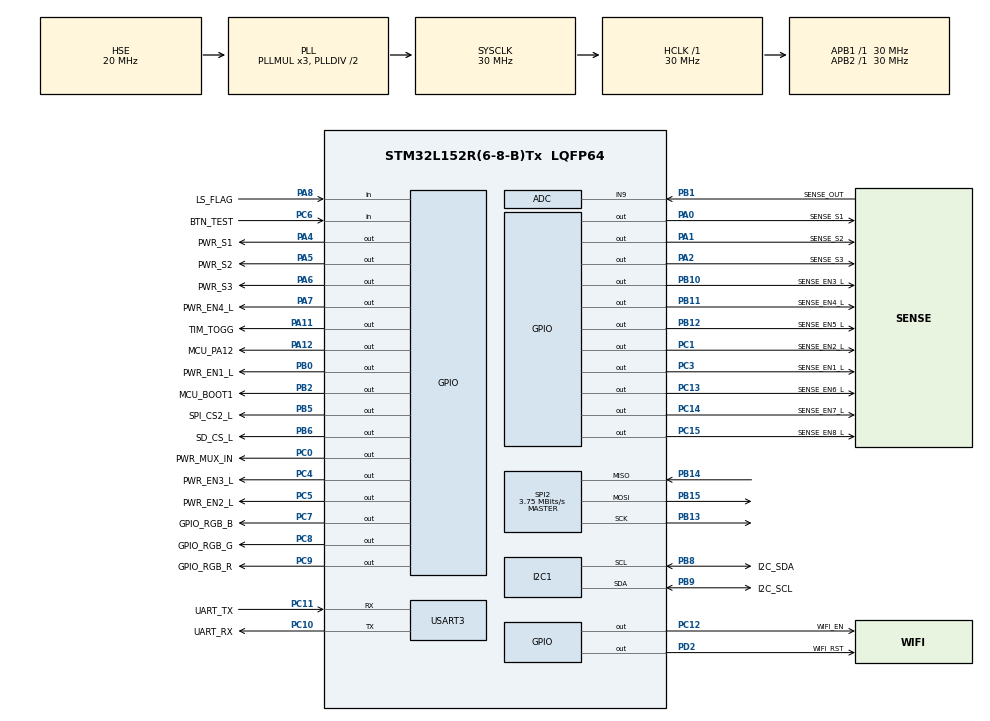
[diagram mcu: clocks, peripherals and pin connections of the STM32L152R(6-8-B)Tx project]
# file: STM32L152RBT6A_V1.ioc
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ADC.Channel-0\#ChannelRegularConversion=ADC_CHANNEL_9
ADC.NbrOfConversionFlag=1
ADC.SamplingTime-0\#ChannelRegularConversion=ADC_SAMPLETIME_48CYCLES
FATFS._MAX_SS=4096
FATFS._USE_LFN=1
Mcu.Family=STM32L1
Mcu.Name=STM32L152R(6-8-B)Tx
Mcu.Package=LQFP64
NVIC.I2C1_ER_IRQn=true\:0\:0\:false\:false\:true\:true\:true
NVIC.I2C1_EV_IRQn=true\:0\:0\:false\:false\:true\:true\:true
NVIC.PriorityGroup=NVIC_PRIORITYGROUP_4
NVIC.RCC_IRQn=true\:0\:0\:false\:false\:true\:true\:false
NVIC.RTC_Alarm_IRQn=true\:0\:0\:false\:false\:true\:true\:true
NVIC.SPI2_IRQn=true\:0\:0\:false\:false\:true\:true\:true
NVIC.USART3_IRQn=true\:0\:0\:false\:false\:true\:true\:true
PA0-WKUP1.GPIO_Label=SENSE_S1
PA0-WKUP1.Signal=GPIO_Output
PA1.GPIO_Label=SENSE_S2
PA1.Signal=GPIO_Output
PA11.GPIO_Label=TIM_TOGG
PA11.Signal=GPIO_Output
PA12.GPIO_Label=MCU_PA12
PA12.Signal=GPIO_Output
PA13.Mode=Trace_Asynchronous_SW
PA13.Signal=SYS_JTMS-SWDIO
PA14.Mode=Trace_Asynchronous_SW
PA14.Signal=SYS_JTCK-SWCLK
PA2.GPIO_Label=SENSE_S3
PA2.Signal=GPIO_Output
PA4.GPIO_Label=PWR_S1
PA4.Signal=GPIO_Output
PA5.GPIO_Label=PWR_S2
PA5.Signal=GPIO_Output
PA6.GPIO_Label=PWR_S3
PA6.Signal=GPIO_Output
PA7.GPIO_Label=PWR_EN4_L
PA7.Signal=GPIO_Output
PA8.GPIO_Label=LS_FLAG
PA8.Signal=GPIO_Input
PB0.GPIO_Label=PWR_EN1_L
PB0.Signal=GPIO_Output
PB1.GPIO_Label=SENSE_OUT
PB1.GPIO_Mode=GPIO_MODE_ANALOG
PB1.GPIO_PuPd=GPIO_NOPULL
PB1.Mode=IN9
PB1.Signal=ADC_IN9
PB10.GPIO_Label=SENSE_EN3_L
PB10.Signal=GPIO_Output
PB11.GPIO_Label=SENSE_EN4_L
PB11.Signal=GPIO_Output
PB12.GPIO_Label=SENSE_EN5_L
PB12.Signal=GPIO_Output
PB13.Mode=Full_Duplex_Master
PB13.Signal=SPI2_SCK
PB14.Mode=Full_Duplex_Master
PB14.Signal=SPI2_MISO
PB15.Mode=Full_Duplex_Master
PB15.Signal=SPI2_MOSI
PB2.GPIO_Label=MCU_BOOT1
PB2.Signal=GPIO_Output
PB3.Mode=Trace_Asynchronous_SW
PB3.Signal=SYS_JTDO-TRACESWO
PB5.GPIO_Label=SPI_CS2_L
PB5.Signal=GPIO_Output
PB6.GPIO_Label=SD_CS_L
PB6.Signal=GPIO_Output
PB8.GPIO_Label=I2C_SDA
PB8.Mode=I2C
PB8.Signal=I2C1_SCL
PB9.GPIO_Label=I2C_SCL
PB9.Mode=I2C
PB9.Signal=I2C1_SDA
PC0.GPIO_Label=PWR_MUX_IN
PC0.Signal=GPIO_Output
PC1.GPIO_Label=SENSE_EN2_L
PC1.Signal=GPIO_Output
PC10.GPIO_Label=UART_RX
PC10.Mode=Asynchronous
PC10.Signal=USART3_TX
PC11.GPIO_Label=UART_TX
PC11.Mode=Asynchronous
PC11.Signal=USART3_RX
PC12.GPIO_Label=WIFI_EN
PC12.Signal=GPIO_Output
PC13-WKUP2.GPIO_Label=SENSE_EN6_L
PC13-WKUP2.Signal=GPIO_Output
PC14-OSC32_IN.GPIO_Label=SENSE_EN7_L
PC14-OSC32_IN.Signal=GPIO_Output
PC15-OSC32_OUT.GPIO_Label=SENSE_EN8_L
PC15-OSC32_OUT.Signal=GPIO_Output
PC3.GPIO_Label=SENSE_EN1_L
PC3.Signal=GPIO_Output
PC4.GPIO_Label=PWR_EN3_L
PC4.Signal=GPIO_Output
PC5.GPIO_Label=PWR_EN2_L
PC5.Signal=GPIO_Output
PC6.GPIO_Label=BTN_TEST
PC6.Signal=GPIO_Input
PC7.GPIO_Label=GPIO_RGB_B
PC7.Signal=GPIO_Output
PC8.GPIO_Label=GPIO_RGB_G
PC8.Signal=GPIO_Output
PC9.GPIO_Label=GPIO_RGB_R
PC9.Signal=GPIO_Output
PD2.GPIO_Label=WIFI_RST
PD2.Signal=GPIO_Output
PH0-OSC_IN.Mode=HSE-External-Oscillator
PH0-OSC_IN.Signal=RCC_OSC_IN
PH1-OSC_OUT.Mode=HSE-External-Oscillator
PH1-OSC_OUT.Signal=RCC_OSC_OUT
ProjectManager.HeapSize=0x200
ProjectManager.StackSize=0x800
ProjectManager.TargetToolchain=STM32CubeIDE
RCC.48MHZClocksFreq_Value=30000000
RCC.AHBFreq_Value=30000000
RCC.APB1Freq_Value=30000000
RCC.APB1TimFreq_Value=30000000
RCC.APB2Freq_Value=30000000
RCC.APB2TimFreq_Value=30000000
RCC.HCLKFreq_Value=30000000
RCC.HSE_VALUE=20000000
RCC.HSI_VALUE=16000000
RCC.LSE_VALUE=32768
RCC.MSI_VALUE=2097000
RCC.PLLSourceVirtual=RCC_PLLSOURCE_HSE
RCC.RCC_RTC_Clock_Source_FROM_HSE=RCC_RTCCLKSOURCE_HSE_DIV16
RCC.SYSCLKFreq_VALUE=30000000
RCC.SYSCLKSource=RCC_SYSCLKSOURCE_PLLCLK
RCC.VCOOutputFreq_Value=60000000
RTC.Alarm-Alarm\ A=RTC_ALARM_A
RTC.Date=11
RTC.DayLightSaving=RTC_DAYLIGHTSAVING_NONE
RTC.Format=RTC_FORMAT_BIN
RTC.Hours=22
RTC.Hours_A-Alarm\ A=6
RTC.Month=RTC_MONTH_MARCH
RTC.WeekDay=RTC_WEEKDAY_FRIDAY
RTC.Year=22
SPI2.BaudRatePrescaler=SPI_BAUDRATEPRESCALER_8
SPI2.CalculateBaudRate=3.75 MBits/s
SPI2.Direction=SPI_DIRECTION_2LINES
SPI2.Mode=SPI_MODE_MASTER
SPI2.VirtualType=VM_MASTER
USART3.VirtualMode=VM_ASYNC
VP_FATFS_VS_Generic.Mode=User_defined
VP_RTC_VS_RTC_Activate.Mode=RTC_Enabled
VP_RTC_VS_RTC_Alarm_A_Intern.Mode=Alarm A
VP_RTC_VS_RTC_Calendar.Mode=RTC_Calendar
board=custom

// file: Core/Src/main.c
/* USER CODE BEGIN Header */
/**
  ******************************************************************************
  * @file           : main.c
  * @brief          : Main program body
  ******************************************************************************
  * @attention
  *
  * Copyright (c) 2022 STMicroelectronics.
  * All rights reserved.
  *
  * This software is licensed under terms that can be found in the LICENSE file
  * in the root directory of this software component.
  * If no LICENSE file comes with this software, it is provided AS-IS.
  *
  ******************************************************************************
  */

/* USER CODE END Header */
#include "main.h"
#include "fatfs.h"

/* USER CODE BEGIN Includes */
#include <stdlib.h>
#include <stdio.h>
#include <string.h>
#include <stdbool.h>
#include <math.h>
#include "fatfs_sd.h"

/* USER CODE END Includes */

/* USER CODE BEGIN PM */
#define NUM_NODES_FULL 	        1824 													/* Missing 7 rows on the mat */
#define NUM_NODES_PARTIAL    	96 														/* Nodes selected for partial sampling */
#define WAIT_TIME 	         	20000 													/* Time in ms to sample mat before ending program */
#define CALIBRATION_DELAY 	 	10 														/* Time in ms between mat calibration readings */
#define CALIBRATION_CYCLES 	 	3
#define SAMPLE_CYCLES 	     	5
#define ADC_DELAY        	 	3
#define RUNTIME 	          	10000 													/* Time in ms to sample mat before ending program */
// #define BREATHING_PERIOD		500													    /* Time in ms of breathing cycle sampling period */
// #define PRESSURE_MAP_PERIOD		300000													/* Time in ms of pressure map cycle sampling period */
#define BREATHING_PERIOD		500													    /* Time in ms of breathing cycle sampling period */
#define PRESSURE_MAP_PERIOD		30000													/* Time in ms of pressure map cycle sampling period */
#define FILE_LINE_SIZE_FULL   	(9 + (4 * NUM_NODES_FULL) + NUM_NODES_FULL) 			/* Time + (ADC integer reading (4 bytes) + comma) * NUM_NODES_FULL */
#define FILE_LINE_SIZE_PARTIAL	(9 + (4 * NUM_NODES_PARTIAL) + NUM_NODES_PARTIAL) 		/* Time + (ADC integer reading (4 bytes) + comma) * NUM_NODES_PARTIAL */

/* USER CODE END PM */

ADC_HandleTypeDef hadc;

I2C_HandleTypeDef hi2c1;

RTC_HandleTypeDef hrtc;

SPI_HandleTypeDef hspi2;

UART_HandleTypeDef huart3;

/* USER CODE BEGIN PV */
/* SD card-related variables */
FATFS fs;
FRESULT fr = FR_OK;
FIL pressure_map_fil;
FIL breathing_fil;
FATFS *pfs;
DWORD fre_clust;
uint32_t total, free_space;

char date[13];
char pressure_map_file_name[30] = "pressure_map_data.csv";
char breathing_file_name[30] = "breathing_data.csv";

RTC_DateTypeDef nDate;
RTC_TimeTypeDef nTime;

/* Muxing-related variables */
/* At 3.3V, expect ADC reading of 4095 */
const float ADC_VOLTAGE_CONVERSION = 0.0008056641;

const int pwrMuxEnable[4] = {PWR_EN1_L_Pin, PWR_EN2_L_Pin, PWR_EN3_L_Pin, PWR_EN4_L_Pin};
const int senseMuxEnable[8] = {SENSE_EN1_L_Pin, SENSE_EN2_L_Pin, SENSE_EN3_L_Pin, SENSE_EN4_L_Pin, SENSE_EN5_L_Pin, SENSE_EN6_L_Pin, SENSE_EN7_L_Pin, SENSE_EN8_L_Pin};

GPIO_TypeDef * pwrMuxType[4] = {GPIOB, GPIOC, GPIOC, GPIOA};
GPIO_TypeDef * senseMuxType[8] = {GPIOC, GPIOC, GPIOB, GPIOB, GPIOB, GPIOC, GPIOC, GPIOC};

int senseMuxSelect[3] = {SENSE_S1_Pin, SENSE_S2_Pin, SENSE_S3_Pin};
int pwrMuxSelect[3] = {PWR_S1_Pin, PWR_S2_Pin, PWR_S3_Pin};

/* USER CODE END PV */

void SystemClock_Config(void);
static void MX_GPIO_Init(void);
static void MX_ADC_Init(void);
static void MX_I2C1_Init(void);
static void MX_SPI2_Init(void);
static void MX_USART3_UART_Init(void);
static void MX_RTC_Init(void);

/* USER CODE BEGIN PFP */
/* SD card */
int _write(int file, char* ptr, int len);
void writeCurrentTime(FIL* fil);
void logData2SDCard(FIL* fil, int file_line_size, int data[], int len, bool write_timestamp);
void readSDCardSendUART(FIL* fil, char* file_name, int file_line_size);
uint32_t getSpaceFree(void);

/* Muxes */
void muxInit(void);
void selectChannel(int pin, int array[]);
void enableMux(GPIO_TypeDef *type, int pin);
void disableMux(GPIO_TypeDef *type, int pin);
int readPressure(void);
void sampleMatFull(int data[], int len);
void sampleMatPartial(int data[], int len);
void calibrateMat(int data[], int len);
void calibrate(int data[], int len);
bool checkTime(uint32_t start_time, int threshold);

/* USER CODE END PFP */

int main(void)
{

  /* MCU Configuration--------------------------------------------------------*/

  /* Reset of all peripherals, Initializes the Flash interface and the Systick. */
  HAL_Init();

  /* Configure the system clock */
  SystemClock_Config();

  /* Initialize all configured peripherals */
  MX_GPIO_Init();
  MX_ADC_Init();
  MX_I2C1_Init();
  MX_SPI2_Init();
  MX_USART3_UART_Init();
  MX_FATFS_Init();
  MX_RTC_Init();

  /* USER CODE BEGIN 2 */
  muxInit();

  int pressure_map_data[NUM_NODES_FULL] = {0};
  int breathing_data[NUM_NODES_PARTIAL] = {0};

  int pressure_map_calibration_data[NUM_NODES_FULL] = {0};
  int breathing_calibration_data[NUM_NODES_PARTIAL] = {0};

  uint32_t breathing_time;
  uint32_t pressure_map_time;

  /* Mount the SD card */
  fr = f_mount(&fs, "", 0) && FR_OK;
  // int cycle_cnt = 0;

  // HAL_RTC_GetDate(&hrtc, &nDate, RTC_FORMAT_BIN);
  // sprintf(date, "%02u-%02u-%02u.csv", nDate.Month, nDate.Date, nDate.Year);

  /* USER CODE END 2 */

  /* Infinite loop */
  /* USER CODE BEGIN WHILE */

  /* Wait for user button press to start the program */
  while (HAL_GPIO_ReadPin(BTN_TEST_GPIO_Port, BTN_TEST_Pin) == GPIO_PIN_SET){}

  /* Set RED LED to start measuring calibration data with nothing on the mat */
  HAL_GPIO_WritePin(GPIOC, GPIO_RGB_R_Pin, GPIO_PIN_SET);

  /* Calibration for 30s */
  calibrate(pressure_map_calibration_data, sizeof(pressure_map_calibration_data)/sizeof(*pressure_map_calibration_data));

  /* Reset the RED LED after calibration */
  HAL_GPIO_WritePin(GPIOC, GPIO_RGB_R_Pin, GPIO_PIN_RESET);

  /* Wait for user to get on the mat and press the button */
  while (HAL_GPIO_ReadPin(BTN_TEST_GPIO_Port, BTN_TEST_Pin) == GPIO_PIN_SET){}

  /* Set RED LED */
  HAL_GPIO_WritePin(GPIOC, GPIO_RGB_R_Pin, GPIO_PIN_SET);

  /* Wait for reading to settle */
  HAL_Delay(WAIT_TIME);

  /* Turn off RED LED */
  HAL_GPIO_WritePin(GPIOC, GPIO_RGB_R_Pin, GPIO_PIN_RESET);

  /* Open the file to write pressure map data to */
  fr = f_open(&pressure_map_fil, pressure_map_file_name, FA_CREATE_ALWAYS | FA_WRITE) && FR_OK;

  if (fr != FR_OK)
  {
	Error_Handler();
  }

  /* Open the file to write breathing data to */
  fr = f_open(&breathing_fil, breathing_file_name, FA_CREATE_ALWAYS | FA_WRITE) && FR_OK;

  if (fr != FR_OK)
  {
	Error_Handler();
  }

  // uint16_t start_time = HAL_GetTick();
  breathing_time = HAL_GetTick();
  pressure_map_time = HAL_GetTick();

  /* Set GREEN LED */
  HAL_GPIO_WritePin(GPIOC, GPIO_RGB_G_Pin, GPIO_PIN_SET);

  /* Button press stops the code */
  while(HAL_GPIO_ReadPin(BTN_TEST_GPIO_Port, BTN_TEST_Pin) == GPIO_PIN_SET)
  {
    /* USER CODE END WHILE */

    /* USER CODE BEGIN 3 */
    /* Toggle timing GPIO */
	// HAL_GPIO_WritePin(GPIOA, TIM_TOGG_Pin, GPIO_PIN_SET);

	if (checkTime(breathing_time, BREATHING_PERIOD))
	{
      /* Toggle timing GPIO */
      // HAL_GPIO_WritePin(GPIOA, TIM_TOGG_Pin, GPIO_PIN_SET);

      /* Update timer */
      breathing_time = HAL_GetTick();

	  /* Sample selected nodes on mat for breathing */
	  sampleMatPartial(breathing_data, sizeof(breathing_data)/sizeof(*breathing_data));

	  /* Write sampled data to SD card */
	  logData2SDCard(&breathing_fil, FILE_LINE_SIZE_PARTIAL, breathing_data, NUM_NODES_PARTIAL, true);

	  /* Toggle timing GPIO */
	  // HAL_GPIO_WritePin(GPIOA, TIM_TOGG_Pin, GPIO_PIN_RESET);
	}

	if (checkTime(pressure_map_time, PRESSURE_MAP_PERIOD))
	{
	  /* Toggle timing GPIO */
	  // HAL_GPIO_WritePin(GPIOA, TIM_TOGG_Pin, GPIO_PIN_SET);

	  /* Update timer */
	  pressure_map_time = HAL_GetTick();

	  /* Sample all nodes on mat */
	  sampleMatFull(pressure_map_data, sizeof(pressure_map_data)/sizeof(*pressure_map_data));

	  /* Write partial sampled data to SD card */
	  logData2SDCard(&pressure_map_fil, FILE_LINE_SIZE_FULL, pressure_map_data, NUM_NODES_FULL, true);

	  /* Toggle timing GPIO */
	  // HAL_GPIO_WritePin(GPIOA, TIM_TOGG_Pin, GPIO_PIN_RESET);
	}

//    /* TODO: Check timer. If pass 2 minutes, open SD card file, read data and write to UART */
//    if (checkTime(start_time, RUNTIME))
//    {
//  	  if (cycle_cnt >= SAMPLE_CYCLES)
//  	  {
//  		/* Set Green pin to indicate logging is occurring */
//		HAL_GPIO_WritePin(GPIOC, GPIO_RGB_G_Pin, GPIO_PIN_SET);
//
//		/* Write calibration data to SD card on the last row (without timestamp) */
//		logData2SDCard(pressure_map_calibration_data, NUM_NODES_FULL, false);
//
//		/* Read SD card and send data to ESP8266 via UART */
//		readSDCardSendUART();
//
//	    /* Unmount the default drive */
//  		fr = f_close(&fil);
//		fr = f_mount(0, "", 0);
//
//	    break;
//      }
//
//      cycle_cnt++;
//    }

	/* Toggle timing GPIO */
	// HAL_GPIO_WritePin(GPIOA, TIM_TOGG_Pin, GPIO_PIN_RESET);
  }

  /* Turn off GREEN LED */
  HAL_GPIO_WritePin(GPIOC, GPIO_RGB_G_Pin, GPIO_PIN_RESET);

  /* Close the files and unmount the default drive */
  fr = f_close(&pressure_map_fil);
  fr = f_close(&breathing_fil);

  fr = f_mount(0, "", 0);

  return EXIT_SUCCESS;
  /* USER CODE END 3 */
}

void SystemClock_Config(void)
{
  RCC_OscInitTypeDef RCC_OscInitStruct = {0};
  RCC_ClkInitTypeDef RCC_ClkInitStruct = {0};
  RCC_PeriphCLKInitTypeDef PeriphClkInit = {0};

  /** Configure the main internal regulator output voltage
  */
  __HAL_PWR_VOLTAGESCALING_CONFIG(PWR_REGULATOR_VOLTAGE_SCALE1);
  /** Initializes the RCC Oscillators according to the specified parameters
  * in the RCC_OscInitTypeDef structure.
  */
  RCC_OscInitStruct.OscillatorType = RCC_OSCILLATORTYPE_HSI|RCC_OSCILLATORTYPE_LSI
                              |RCC_OSCILLATORTYPE_HSE;
  RCC_OscInitStruct.HSEState = RCC_HSE_ON;
  RCC_OscInitStruct.HSIState = RCC_HSI_ON;
  RCC_OscInitStruct.HSICalibrationValue = RCC_HSICALIBRATION_DEFAULT;
  RCC_OscInitStruct.LSIState = RCC_LSI_ON;
  RCC_OscInitStruct.PLL.PLLState = RCC_PLL_ON;
  RCC_OscInitStruct.PLL.PLLSource = RCC_PLLSOURCE_HSE;
  RCC_OscInitStruct.PLL.PLLMUL = RCC_PLL_MUL3;
  RCC_OscInitStruct.PLL.PLLDIV = RCC_PLL_DIV2;
  if (HAL_RCC_OscConfig(&RCC_OscInitStruct) != HAL_OK)
  {
    Error_Handler();
  }
  /** Initializes the CPU, AHB and APB buses clocks
  */
  RCC_ClkInitStruct.ClockType = RCC_CLOCKTYPE_HCLK|RCC_CLOCKTYPE_SYSCLK
                              |RCC_CLOCKTYPE_PCLK1|RCC_CLOCKTYPE_PCLK2;
  RCC_ClkInitStruct.SYSCLKSource = RCC_SYSCLKSOURCE_PLLCLK;
  RCC_ClkInitStruct.AHBCLKDivider = RCC_SYSCLK_DIV1;
  RCC_ClkInitStruct.APB1CLKDivider = RCC_HCLK_DIV1;
  RCC_ClkInitStruct.APB2CLKDivider = RCC_HCLK_DIV1;

  if (HAL_RCC_ClockConfig(&RCC_ClkInitStruct, FLASH_LATENCY_1) != HAL_OK)
  {
    Error_Handler();
  }
  PeriphClkInit.PeriphClockSelection = RCC_PERIPHCLK_RTC;
  PeriphClkInit.RTCClockSelection = RCC_RTCCLKSOURCE_LSI;
  if (HAL_RCCEx_PeriphCLKConfig(&PeriphClkInit) != HAL_OK)
  {
    Error_Handler();
  }
}

static void MX_ADC_Init(void)
{

  ADC_ChannelConfTypeDef sConfig = {0};

  /** Configure the global features of the ADC (Clock, Resolution, Data Alignment and number of conversion)
  */
  hadc.Instance = ADC1;
  hadc.Init.ClockPrescaler = ADC_CLOCK_ASYNC_DIV1;
  hadc.Init.Resolution = ADC_RESOLUTION_12B;
  hadc.Init.DataAlign = ADC_DATAALIGN_RIGHT;
  hadc.Init.ScanConvMode = ADC_SCAN_DISABLE;
  hadc.Init.EOCSelection = ADC_EOC_SEQ_CONV;
  hadc.Init.LowPowerAutoWait = ADC_AUTOWAIT_DISABLE;
  hadc.Init.LowPowerAutoPowerOff = ADC_AUTOPOWEROFF_DISABLE;
  hadc.Init.ChannelsBank = ADC_CHANNELS_BANK_A;
  hadc.Init.ContinuousConvMode = DISABLE;
  hadc.Init.NbrOfConversion = 1;
  hadc.Init.DiscontinuousConvMode = DISABLE;
  hadc.Init.ExternalTrigConv = ADC_SOFTWARE_START;
  hadc.Init.ExternalTrigConvEdge = ADC_EXTERNALTRIGCONVEDGE_NONE;
  hadc.Init.DMAContinuousRequests = DISABLE;
  if (HAL_ADC_Init(&hadc) != HAL_OK)
  {
    Error_Handler();
  }
  /** Configure for the selected ADC regular channel its corresponding rank in the sequencer and its sample time.
  */
  sConfig.Channel = ADC_CHANNEL_9;
  sConfig.Rank = ADC_REGULAR_RANK_1;
  sConfig.SamplingTime = ADC_SAMPLETIME_48CYCLES;
  if (HAL_ADC_ConfigChannel(&hadc, &sConfig) != HAL_OK)
  {
    Error_Handler();
  }

}

static void MX_I2C1_Init(void)
{

  hi2c1.Instance = I2C1;
  hi2c1.Init.ClockSpeed = 100000;
  hi2c1.Init.DutyCycle = I2C_DUTYCYCLE_2;
  hi2c1.Init.OwnAddress1 = 0;
  hi2c1.Init.AddressingMode = I2C_ADDRESSINGMODE_7BIT;
  hi2c1.Init.DualAddressMode = I2C_DUALADDRESS_DISABLE;
  hi2c1.Init.OwnAddress2 = 0;
  hi2c1.Init.GeneralCallMode = I2C_GENERALCALL_DISABLE;
  hi2c1.Init.NoStretchMode = I2C_NOSTRETCH_DISABLE;
  if (HAL_I2C_Init(&hi2c1) != HAL_OK)
  {
    Error_Handler();
  }

}

static void MX_RTC_Init(void)
{

  RTC_TimeTypeDef sTime = {0};
  RTC_DateTypeDef sDate = {0};
  RTC_AlarmTypeDef sAlarm = {0};

  /** Initialize RTC Only
  */
  hrtc.Instance = RTC;
  hrtc.Init.HourFormat = RTC_HOURFORMAT_24;
  hrtc.Init.AsynchPrediv = 127;
  hrtc.Init.SynchPrediv = 255;
  hrtc.Init.OutPut = RTC_OUTPUT_DISABLE;
  hrtc.Init.OutPutPolarity = RTC_OUTPUT_POLARITY_HIGH;
  hrtc.Init.OutPutType = RTC_OUTPUT_TYPE_OPENDRAIN;
  if (HAL_RTC_Init(&hrtc) != HAL_OK)
  {
    Error_Handler();
  }

  /** Initialize RTC and set the Time and Date
  */
  sTime.Hours = 22;
  sTime.Minutes = 0;
  sTime.Seconds = 0;
  sTime.DayLightSaving = RTC_DAYLIGHTSAVING_NONE;
  sTime.StoreOperation = RTC_STOREOPERATION_RESET;
  if (HAL_RTC_SetTime(&hrtc, &sTime, RTC_FORMAT_BIN) != HAL_OK)
  {
    Error_Handler();
  }
  sDate.WeekDay = RTC_WEEKDAY_FRIDAY;
  sDate.Month = RTC_MONTH_MARCH;
  sDate.Date = 11;
  sDate.Year = 22;

  if (HAL_RTC_SetDate(&hrtc, &sDate, RTC_FORMAT_BIN) != HAL_OK)
  {
    Error_Handler();
  }
  /** Enable the Alarm A
  */
  sAlarm.AlarmTime.Hours = 6;
  sAlarm.AlarmTime.Minutes = 0;
  sAlarm.AlarmTime.Seconds = 0;
  sAlarm.AlarmTime.DayLightSaving = RTC_DAYLIGHTSAVING_NONE;
  sAlarm.AlarmTime.StoreOperation = RTC_STOREOPERATION_RESET;
  sAlarm.AlarmMask = RTC_ALARMMASK_NONE;
  sAlarm.AlarmDateWeekDaySel = RTC_ALARMDATEWEEKDAYSEL_DATE;
  sAlarm.AlarmDateWeekDay = 1;
  sAlarm.Alarm = RTC_ALARM_A;
  if (HAL_RTC_SetAlarm_IT(&hrtc, &sAlarm, RTC_FORMAT_BIN) != HAL_OK)
  {
    Error_Handler();
  }

}

static void MX_SPI2_Init(void)
{

  /* SPI2 parameter configuration*/
  hspi2.Instance = SPI2;
  hspi2.Init.Mode = SPI_MODE_MASTER;
  hspi2.Init.Direction = SPI_DIRECTION_2LINES;
  hspi2.Init.DataSize = SPI_DATASIZE_8BIT;
  hspi2.Init.CLKPolarity = SPI_POLARITY_LOW;
  hspi2.Init.CLKPhase = SPI_PHASE_1EDGE;
  hspi2.Init.NSS = SPI_NSS_SOFT;
  hspi2.Init.BaudRatePrescaler = SPI_BAUDRATEPRESCALER_8;
  hspi2.Init.FirstBit = SPI_FIRSTBIT_MSB;
  hspi2.Init.TIMode = SPI_TIMODE_DISABLE;
  hspi2.Init.CRCCalculation = SPI_CRCCALCULATION_DISABLE;
  hspi2.Init.CRCPolynomial = 10;
  if (HAL_SPI_Init(&hspi2) != HAL_OK)
  {
    Error_Handler();
  }

}

static void MX_USART3_UART_Init(void)
{

  huart3.Instance = USART3;
  huart3.Init.BaudRate = 115200;
  huart3.Init.WordLength = UART_WORDLENGTH_8B;
  huart3.Init.StopBits = UART_STOPBITS_1;
  huart3.Init.Parity = UART_PARITY_NONE;
  huart3.Init.Mode = UART_MODE_TX_RX;
  huart3.Init.HwFlowCtl = UART_HWCONTROL_NONE;
  huart3.Init.OverSampling = UART_OVERSAMPLING_16;
  if (HAL_UART_Init(&huart3) != HAL_OK)
  {
    Error_Handler();
  }

}

static void MX_GPIO_Init(void)
{
  GPIO_InitTypeDef GPIO_InitStruct = {0};

  /* GPIO Ports Clock Enable */
  __HAL_RCC_GPIOC_CLK_ENABLE();
  __HAL_RCC_GPIOH_CLK_ENABLE();
  __HAL_RCC_GPIOA_CLK_ENABLE();
  __HAL_RCC_GPIOB_CLK_ENABLE();
  __HAL_RCC_GPIOD_CLK_ENABLE();

  /*Configure GPIO pin Output Level */
  HAL_GPIO_WritePin(GPIOC, SENSE_EN6_L_Pin|SENSE_EN7_L_Pin|SENSE_EN8_L_Pin|PWR_MUX_IN_Pin
                          |SENSE_EN2_L_Pin|SENSE_EN1_L_Pin|PWR_EN3_L_Pin|PWR_EN2_L_Pin
                          |GPIO_RGB_B_Pin|GPIO_RGB_G_Pin|GPIO_RGB_R_Pin|WIFI_EN_Pin, GPIO_PIN_RESET);

  /*Configure GPIO pin Output Level */
  HAL_GPIO_WritePin(GPIOA, SENSE_S1_Pin|SENSE_S2_Pin|SENSE_S3_Pin|PWR_S1_Pin
                          |PWR_S2_Pin|PWR_S3_Pin|PWR_EN4_L_Pin|TIM_TOGG_Pin
                          |MCU_PA12_Pin, GPIO_PIN_RESET);

  /*Configure GPIO pin Output Level */
  HAL_GPIO_WritePin(GPIOB, PWR_EN1_L_Pin|MCU_BOOT1_Pin|SENSE_EN3_L_Pin|SENSE_EN4_L_Pin
                          |SENSE_EN5_L_Pin|SPI_CS2_L_Pin|SD_CS_L_Pin, GPIO_PIN_RESET);

  /*Configure GPIO pin Output Level */
  HAL_GPIO_WritePin(WIFI_RST_GPIO_Port, WIFI_RST_Pin, GPIO_PIN_RESET);

  /*Configure GPIO pins : SENSE_EN6_L_Pin SENSE_EN7_L_Pin SENSE_EN8_L_Pin PWR_MUX_IN_Pin
                           SENSE_EN2_L_Pin SENSE_EN1_L_Pin PWR_EN3_L_Pin PWR_EN2_L_Pin
                           GPIO_RGB_B_Pin GPIO_RGB_G_Pin GPIO_RGB_R_Pin WIFI_EN_Pin */
  GPIO_InitStruct.Pin = SENSE_EN6_L_Pin|SENSE_EN7_L_Pin|SENSE_EN8_L_Pin|PWR_MUX_IN_Pin
                          |SENSE_EN2_L_Pin|SENSE_EN1_L_Pin|PWR_EN3_L_Pin|PWR_EN2_L_Pin
                          |GPIO_RGB_B_Pin|GPIO_RGB_G_Pin|GPIO_RGB_R_Pin|WIFI_EN_Pin;
  GPIO_InitStruct.Mode = GPIO_MODE_OUTPUT_PP;
  GPIO_InitStruct.Pull = GPIO_NOPULL;
  GPIO_InitStruct.Speed = GPIO_SPEED_FREQ_LOW;
  HAL_GPIO_Init(GPIOC, &GPIO_InitStruct);

  /*Configure GPIO pins : SENSE_S1_Pin SENSE_S2_Pin SENSE_S3_Pin PWR_S1_Pin
                           PWR_S2_Pin PWR_S3_Pin PWR_EN4_L_Pin TIM_TOGG_Pin
                           MCU_PA12_Pin */
  GPIO_InitStruct.Pin = SENSE_S1_Pin|SENSE_S2_Pin|SENSE_S3_Pin|PWR_S1_Pin
                          |PWR_S2_Pin|PWR_S3_Pin|PWR_EN4_L_Pin|TIM_TOGG_Pin
                          |MCU_PA12_Pin;
  GPIO_InitStruct.Mode = GPIO_MODE_OUTPUT_PP;
  GPIO_InitStruct.Pull = GPIO_NOPULL;
  GPIO_InitStruct.Speed = GPIO_SPEED_FREQ_LOW;
  HAL_GPIO_Init(GPIOA, &GPIO_InitStruct);

  /*Configure GPIO pins : PWR_EN1_L_Pin MCU_BOOT1_Pin SENSE_EN3_L_Pin SENSE_EN4_L_Pin
                           SENSE_EN5_L_Pin SPI_CS2_L_Pin SD_CS_L_Pin */
  GPIO_InitStruct.Pin = PWR_EN1_L_Pin|MCU_BOOT1_Pin|SENSE_EN3_L_Pin|SENSE_EN4_L_Pin
                          |SENSE_EN5_L_Pin|SPI_CS2_L_Pin|SD_CS_L_Pin;
  GPIO_InitStruct.Mode = GPIO_MODE_OUTPUT_PP;
  GPIO_InitStruct.Pull = GPIO_NOPULL;
  GPIO_InitStruct.Speed = GPIO_SPEED_FREQ_LOW;
  HAL_GPIO_Init(GPIOB, &GPIO_InitStruct);

  /*Configure GPIO pin : BTN_TEST_Pin */
  GPIO_InitStruct.Pin = BTN_TEST_Pin;
  GPIO_InitStruct.Mode = GPIO_MODE_INPUT;
  GPIO_InitStruct.Pull = GPIO_NOPULL;
  HAL_GPIO_Init(BTN_TEST_GPIO_Port, &GPIO_InitStruct);

  /*Configure GPIO pin : LS_FLAG_Pin */
  GPIO_InitStruct.Pin = LS_FLAG_Pin;
  GPIO_InitStruct.Mode = GPIO_MODE_INPUT;
  GPIO_InitStruct.Pull = GPIO_NOPULL;
  HAL_GPIO_Init(LS_FLAG_GPIO_Port, &GPIO_InitStruct);

  /*Configure GPIO pin : WIFI_RST_Pin */
  GPIO_InitStruct.Pin = WIFI_RST_Pin;
  GPIO_InitStruct.Mode = GPIO_MODE_OUTPUT_PP;
  GPIO_InitStruct.Pull = GPIO_NOPULL;
  GPIO_InitStruct.Speed = GPIO_SPEED_FREQ_LOW;
  HAL_GPIO_Init(WIFI_RST_GPIO_Port, &GPIO_InitStruct);

}

/* USER CODE BEGIN 4 */
/**
  * @brief Writes the current time to the file
  * @param None
  * @retval None
  */
void writeCurrentTime(FIL* fil)
{
  char time[10];

  HAL_RTC_GetTime(&hrtc, &nTime, RTC_FORMAT_BIN);
  sprintf(time, "%02u:%02u:%02u,", nTime.Hours, nTime.Minutes, nTime.Seconds);
  f_lseek(fil, f_size(fil));
  fr = f_printf( fil, "%s", time);
}

/**
  * @brief Change _write function in stdio to be used in printf to redirect output to the SWV
  * @param file: name of file to write to
  * @param ptr: data to write
  * @param len: length of data to write
  * @retval int: length of data to write
  */
int _write(int file, char* ptr, int len)
{
  int data_index;
  for (data_index = 0; data_index < len; data_index++)
  {
	ITM_SendChar(*ptr++);
  }

  return len;
}

/**
  * @brief Write data to the SD card
  * @param data: buffer with data to write
  * @param len: length of the data to write
  * @param write_timestamp: controls if the add a time stamp to the entry at the front
  * @retval None
  */
void logData2SDCard(FIL* fil, int file_line_size, int data[], int len, bool write_timestamp)
{
  /* Make space for line of data */
  f_lseek(fil, file_line_size);
  f_lseek(fil, f_size(fil));

  if (write_timestamp)
  {
   	writeCurrentTime(fil);
  }

  /* Construct string to put into file */
  for(int node = 0; node < len - 1; node++)
  {
    fr = f_printf(fil, "%d,", data[node]) && FR_OK;
  }

  fr = f_printf(fil, "%d\n", data[len - 1]) && FR_OK;

  /* Flush file after every mat reading */
  fr = f_sync(fil) && FR_OK;

}

/**
  * @brief Read data from the SD card and send it over UART
  * @param None
  * @retval None
  */
void readSDCardSendUART(FIL* fil, char* file_name, int file_line_size)
{
  f_open(fil, file_name, FA_READ); // Data can be read from file
  char line[file_line_size]; /* Line buffer */

  int cnt = 1;

  /* Read every line*/
  while (f_gets(line, sizeof line, fil))
  {
   	if (cnt > 2)
   	{
   	  /* Skip first 2 lines of SD card because of garbage values */
      /* Send to UART */
      HAL_UART_Transmit(&huart3, (uint8_t *)line, sizeof(line), HAL_MAX_DELAY);
      HAL_Delay(2000);
    }

   	cnt++;
  }

  /* Close the file */
  fr = f_close(fil);
}

/**
  * @brief Gets space left in the SD card
  * @param None
  * @retval uint32_t: space left in SD card
  */
uint32_t getSpaceFree(void)
{
  /* TODO */
  return 1;
}

/**
  * @brief Initializes the hardware for muxing
  * @param None
  * @retval None
  */
void muxInit(void)
{
  /* Set load switch */
  HAL_GPIO_WritePin(GPIOC, PWR_MUX_IN_Pin, GPIO_PIN_SET);

  /* All muxes are active low. We want to set them high (disabled) at startup */
  for (int pwr_mux = 0; pwr_mux < 4; pwr_mux++)
  {
	disableMux(pwrMuxType[pwr_mux], pwrMuxEnable[pwr_mux]);
  }

  for (int sense_mux = 0; sense_mux < 8; sense_mux++)
  {
	disableMux(senseMuxType[sense_mux], senseMuxEnable[sense_mux]);
  }
}

/**
  * @brief Sets to S0, S1, and S2 select pins
  * @param pin: port bit to be written
  * @param array: GPIO information to write to the GPIO
  * @retval None
  */
void selectChannel(int pin, int array[])
{
  switch (pin)
  {
	case 0:
      HAL_GPIO_WritePin(GPIOA, array[0], GPIO_PIN_RESET);
	  HAL_GPIO_WritePin(GPIOA, array[1], GPIO_PIN_RESET);
	  HAL_GPIO_WritePin(GPIOA, array[2], GPIO_PIN_RESET);
	  break;
	case 1:
	  HAL_GPIO_WritePin(GPIOA, array[0], GPIO_PIN_SET);
	  HAL_GPIO_WritePin(GPIOA, array[1], GPIO_PIN_RESET);
	  HAL_GPIO_WritePin(GPIOA, array[2], GPIO_PIN_RESET);
	  break;
	case 2:
      HAL_GPIO_WritePin(GPIOA, array[0], GPIO_PIN_RESET);
      HAL_GPIO_WritePin(GPIOA, array[1], GPIO_PIN_SET);
      HAL_GPIO_WritePin(GPIOA, array[2], GPIO_PIN_RESET);
      break;
	case 3:
	  HAL_GPIO_WritePin(GPIOA, array[0], GPIO_PIN_SET);
	  HAL_GPIO_WritePin(GPIOA, array[1], GPIO_PIN_SET);
	  HAL_GPIO_WritePin(GPIOA, array[2], GPIO_PIN_RESET);
	  break;
	case 4:
	  HAL_GPIO_WritePin(GPIOA, array[0], GPIO_PIN_RESET);
	  HAL_GPIO_WritePin(GPIOA, array[1], GPIO_PIN_RESET);
	  HAL_GPIO_WritePin(GPIOA, array[2], GPIO_PIN_SET);
	  break;
	case 5:
	  HAL_GPIO_WritePin(GPIOA, array[0], GPIO_PIN_SET);
	  HAL_GPIO_WritePin(GPIOA, array[1], GPIO_PIN_RESET);
	  HAL_GPIO_WritePin(GPIOA, array[2], GPIO_PIN_SET);
	  break;
	case 6:
	  HAL_GPIO_WritePin(GPIOA, array[0], GPIO_PIN_RESET);
	  HAL_GPIO_WritePin(GPIOA, array[1], GPIO_PIN_SET);
	  HAL_GPIO_WritePin(GPIOA, array[2], GPIO_PIN_SET);
	  break;
	case 7:
	  HAL_GPIO_WritePin(GPIOA, array[0], GPIO_PIN_SET);
	  HAL_GPIO_WritePin(GPIOA, array[1], GPIO_PIN_SET);
	  HAL_GPIO_WritePin(GPIOA, array[2], GPIO_PIN_SET);
	  break;
  }
}

/**
  * @brief Enables mux
  * @param type: GPIO type
  * @param pin: port bit to be written
  * @retval None
  */
void enableMux(GPIO_TypeDef *type, int pin)
{
  HAL_GPIO_WritePin(type,  pin,  GPIO_PIN_RESET);
}

/**
  * @brief Disables mux
  * @param  type: GPIO type
  * @param pin: port bit to be written
  * @retval None
  */
void disableMux(GPIO_TypeDef *type, int pin)
{
  HAL_GPIO_WritePin(type,  pin,  GPIO_PIN_SET);
}

/**
  * @brief Reads the ADC value
  * @param None
  * @retval int: ADC reading
  */
int readPressure(void)
{
  HAL_Delay(ADC_DELAY);
  HAL_ADC_Start(&hadc);
  HAL_ADC_PollForConversion(&hadc, HAL_MAX_DELAY);
  int data = HAL_ADC_GetValue(&hadc);
  HAL_ADC_Stop(&hadc);

  return data;
}

/**
  * @brief Reads the entire mat for one cycle
  * @param data: buffer to store ADC readings
  * @param len: length of the buffer
  * @retval None
  */
void sampleMatFull(int data[], int len)
{
  int array_cnt = 0;

  if (len != NUM_NODES_FULL)
  {
    /* Wrongly sized array */
    return;
  }

  for (int pwr_mux = 0; pwr_mux < 4; pwr_mux++)
  {
    enableMux(pwrMuxType[pwr_mux], pwrMuxEnable[pwr_mux]);
	for (int pwr_sel = 0; pwr_sel < 8; pwr_sel++)
    {
	  selectChannel(pwr_sel, pwrMuxSelect);
	  for (int sense_mux = 0; sense_mux < 8; sense_mux++)
      {
	    enableMux(senseMuxType[sense_mux], senseMuxEnable[sense_mux]);
		for (int sense_sel = 0; sense_sel < 8; sense_sel++)
        {
		  if ((sense_mux == 0) && ((sense_sel == 0 ) || (sense_sel == 1)))
		  {
		    continue;
		  }

		  if ((sense_mux == 7) && (sense_sel > 2))
		  {
			continue;
		  }

		  selectChannel(sense_sel, senseMuxSelect);

		  /* Read voltage */
		  int raw_ADC_pressure = readPressure();

		  data[array_cnt] = raw_ADC_pressure;
		  array_cnt++;
		}

		disableMux(senseMuxType[sense_mux], senseMuxEnable[sense_mux]);
	  }
	}

	disableMux(pwrMuxType[pwr_mux], pwrMuxEnable[pwr_mux]);
  }
}

/**
  * @brief Reads the entire mat for one cycle
  * @param data: buffer to store ADC readings
  * @param len: length of the buffer
  * @retval None
  */
void sampleMatPartial(int data[], int len)
{
  int array_cnt = 0;

  if (len != NUM_NODES_PARTIAL)
  {
    /* Wrongly sized array */
    return;
  }

  for (int pwr_mux = 1; pwr_mux < 3; pwr_mux++)
  {
    enableMux(pwrMuxType[pwr_mux], pwrMuxEnable[pwr_mux]);
	for (int pwr_sel = 0; pwr_sel < 8; pwr_sel += 2)
    {
	  selectChannel(pwr_sel, pwrMuxSelect);
	  for (int sense_mux = 1; sense_mux < 4; sense_mux++)
      {
	    enableMux(senseMuxType[sense_mux], senseMuxEnable[sense_mux]);
		for (int sense_sel = 0; sense_sel < 8; sense_sel += 2)
        {
		  selectChannel(sense_sel, senseMuxSelect);

		  /* Read voltage */
		  int raw_ADC_pressure = readPressure();

		  data[array_cnt] = raw_ADC_pressure;
		  array_cnt++;
		}

		disableMux(senseMuxType[sense_mux], senseMuxEnable[sense_mux]);
	  }
	}

	disableMux(pwrMuxType[pwr_mux], pwrMuxEnable[pwr_mux]);
  }
}

/**
  * @brief Calibrates the mat by offsetting by the mean of ambient readings
  * @param data: buffer to store ADC readings
  * @param len: length of buffer
  * @retval None
  */
void calibrateMat(int data[], int len)
{
  int array_cnt = 0;

  if (len != NUM_NODES_FULL)
  {
    /* Wrongly sized array */
    return;
  }

  for (int pwr_mux = 0; pwr_mux < 4; pwr_mux++)
  {
	enableMux(pwrMuxType[pwr_mux], pwrMuxEnable[pwr_mux]);
	for (int pwr_sel = 0; pwr_sel < 8; pwr_sel++)
    {
	  selectChannel(pwr_sel, pwrMuxSelect);
	  for (int sense_mux = 0; sense_mux < 8; sense_mux++)
      {
	    enableMux(senseMuxType[sense_mux], senseMuxEnable[sense_mux]);
		for (int sense_sel = 0; sense_sel < 8; sense_sel++)
        {
		  if ((sense_mux == 0) && ((sense_sel == 0 ) || (sense_sel == 1)))
		  {
		    continue;
          }

		  if ((sense_mux == 7) && (sense_sel > 2))
          {
		    continue;
		  }

		  selectChannel(sense_sel, senseMuxSelect);

		  /* Read voltage */
		  int raw_ADC_pressure = readPressure();
		  data[array_cnt] += raw_ADC_pressure;
		  array_cnt++;
		}

	  disableMux(senseMuxType[sense_mux], senseMuxEnable[sense_mux]);
	  }
	}

  disableMux(pwrMuxType[pwr_mux], pwrMuxEnable[pwr_mux]);
  }
}

/**
  * @brief Calibrates the mat
  * @param
  * @retval
  */
void calibrate(int data[], int len)
{
  /* Calibrate over CALIBRATION_CYCLES number of mat readings - Don't use time based calibration in case of overflow */
  for(int round = 0; round < CALIBRATION_CYCLES; round++)
  {
    /* Sum x rounds for each point */
    calibrateMat(data, len);
  }

  /* Taking the mean */
  for (int i = 0; i < len; i++)
  {
	/* Take mean of each node over x rounds */
	data[i] = round(data[i]/CALIBRATION_CYCLES);
  }
}

/**
  * @brief  :
  * @param  :
  * @retval :
  */
bool checkTime(uint32_t start_time, int threshold)
{
  if((HAL_GetTick() - start_time) >= threshold)
  {
	return true;
  }

  return false;
}

/* USER CODE END 4 */

void Error_Handler(void)
{
  __disable_irq();
  while (1)
  {
  }
}
